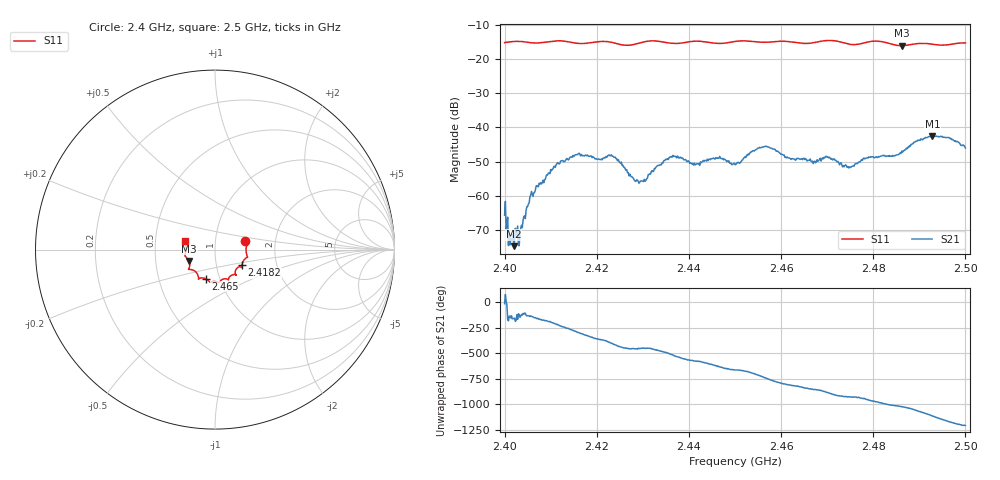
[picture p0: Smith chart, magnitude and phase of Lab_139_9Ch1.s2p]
# Hz S RI R 50
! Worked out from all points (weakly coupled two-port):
!   601 points, 2.4 GHz to 2.5 GHz, reference 50 ohm
!   highest |S21| = -42.48 dB at 2.4928 GHz (marker M1); lowest = -74.8 dB at 2.402 GHz (marker M2)
!   lowest |S11| = -16.0 dB at 2.4862 GHz (marker M3), VSWR 1.37, Z = 37.1 - j4.82 ohm
!   |S11| at or under -10 dB: start of sweep to end of sweep
!   S12 and S22 are empty: the file has one direction only
!   S11 on the Smith chart (normalised r, x): 2.4 GHz: 1.40, +0.13; 2.4182 GHz: 1.33, -0.23; 2.465 GHz: 0.86, -0.29; 2.5 GHz: 0.71, +0.07
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2.4e9  0.1691 0.0454  0.000497 -0.000142  0 0  0 0
2.401333e9  0.1759 0.0389  -0.000213 -9.9e-05  0 0  0 0
2.402e9  0.1785 0.0364  -0.000172 -6.13e-05  0 0  0 0
2.4035e9  0.1799 0.03  -0.000246 -0.000228  0 0  0 0
2.405333e9  0.1752 0.0156  -0.00056 -0.000548  0 0  0 0
2.407333e9  0.1731 -0.00772  -0.0013 -0.0004  0 0  0 0
2.411833e9  0.1816 -0.0413  -0.00199 0.00213  0 0  0 0
2.416667e9  0.1554 -0.0684  0.00244 0.0032  0 0  0 0
2.418167e9  0.1502 -0.0854  0.00337 0.00181  0 0  0 0
2.4235e9  0.146 -0.097  0.0025 -0.00286  0 0  0 0
2.428833e9  0.1124 -0.127  -0.000304 -0.00167  0 0  0 0
2.433333e9  0.117 -0.1413  -0.00113 -0.00255  0 0  0 0
2.436667e9  0.0931 -0.1429  -0.00353 -0.00128  0 0  0 0
2.45e9  0.0253 -0.1807  0.00159 0.00238  0 0  0 0
2.4565e9  -0.0055 -0.1773  0.00492 -0.00183  0 0  0 0
2.465e9  -0.0527 -0.1621  -0.00162 -0.00316  0 0  0 0
2.466667e9  -0.0713 -0.1576  -0.0021 -0.00235  0 0  0 0
2.474833e9  -0.1004 -0.1324  -0.00234 0.00124  0 0  0 0
2.483333e9  -0.1421 -0.0959  0.000773 0.0037  0 0  0 0
2.486167e9  -0.1445 -0.0634  0.00234 0.00383  0 0  0 0
2.492833e9  -0.1646 -0.0206  0.00635 -0.00402  0 0  0 0
2.5e9  -0.1669 0.0472  -0.00291 -0.00407  0 0  0 0
